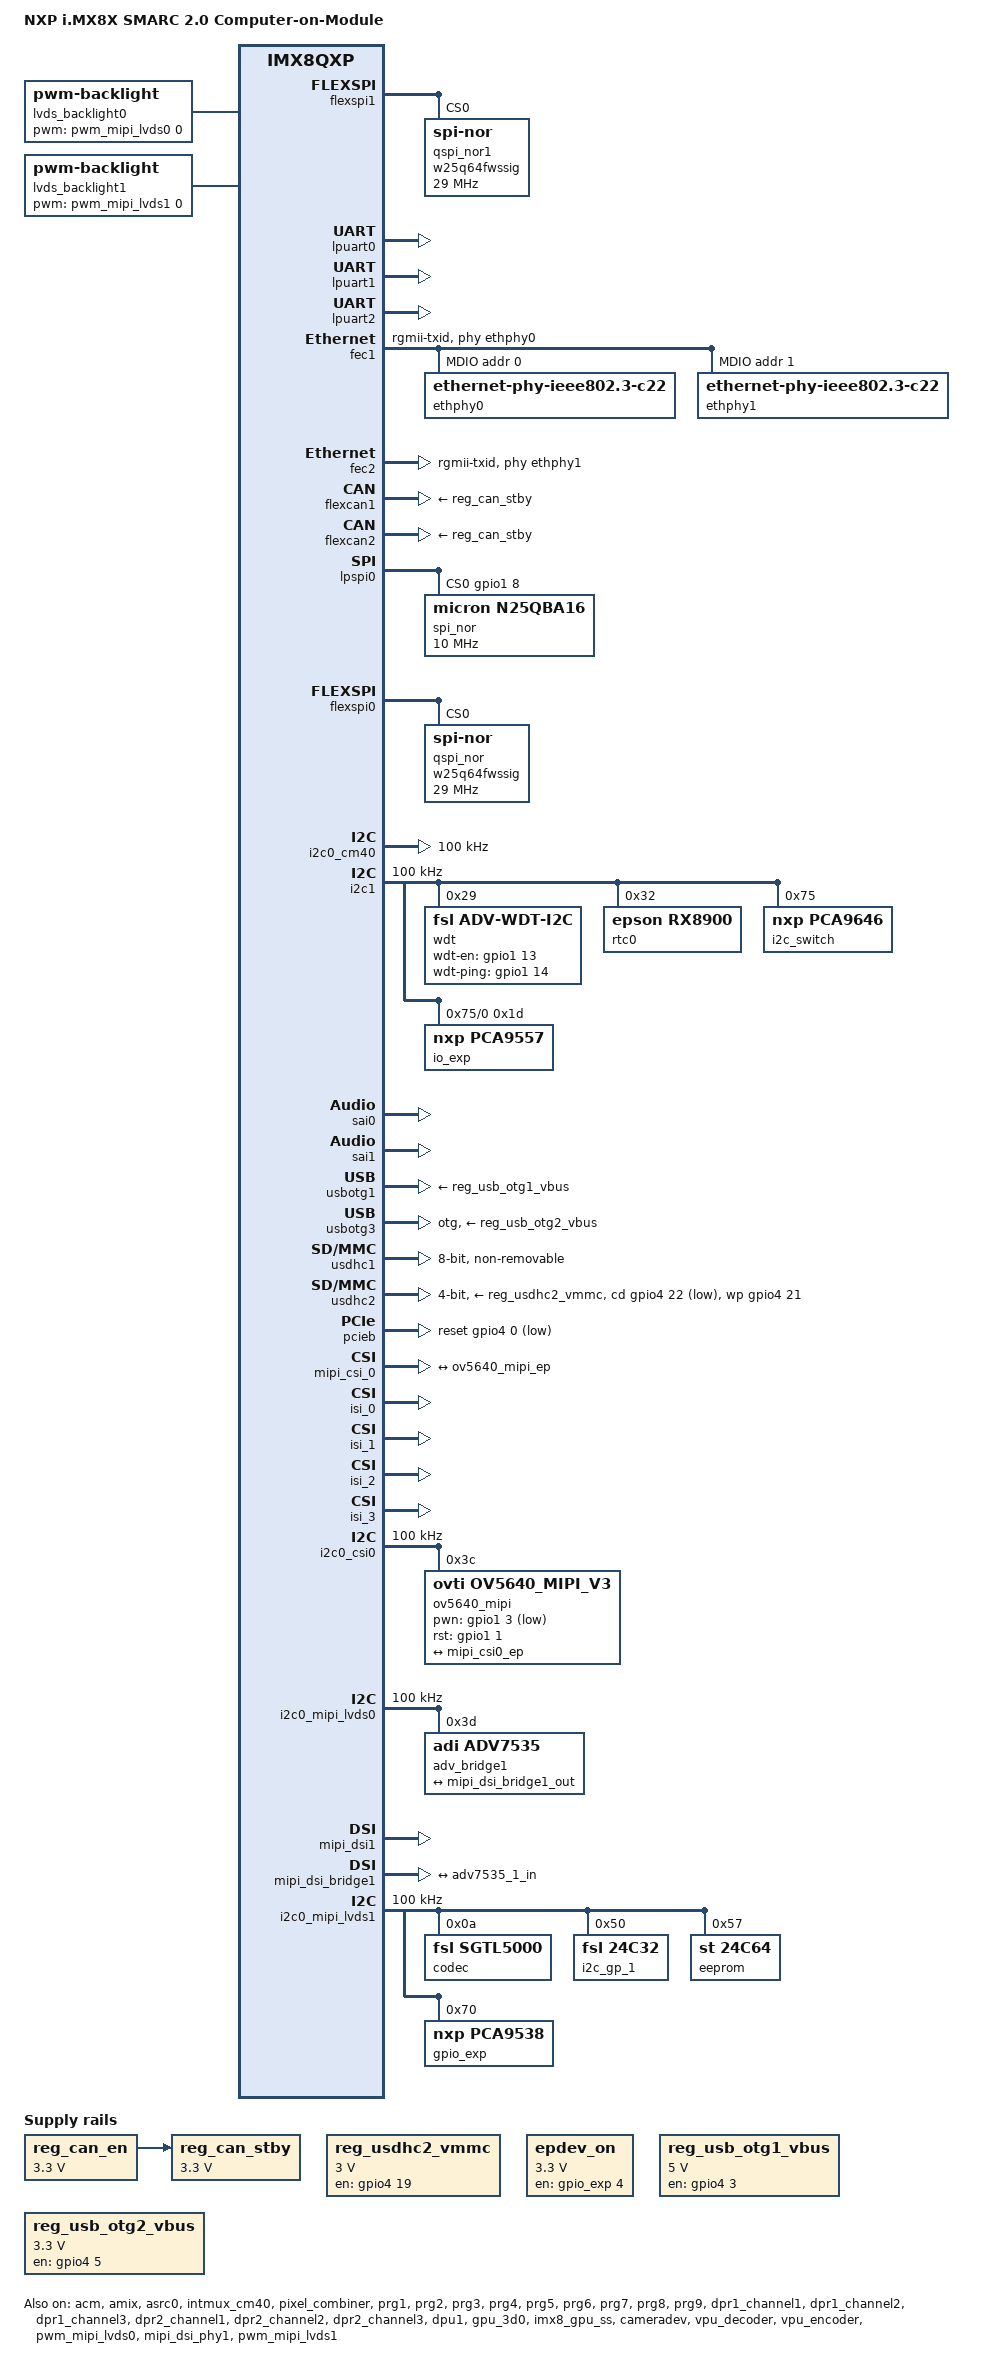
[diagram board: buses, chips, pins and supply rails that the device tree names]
/*
 * Copyright 2017-2019 Advantech
 *
 * This program is free software; you can redistribute it and/or
 * modify it under the terms of the GNU General Public License
 * as published by the Free Software Foundation; either version 2
 * of the License, or (at your option) any later version.
 *
 * This program is distributed in the hope that it will be useful,
 * but WITHOUT ANY WARRANTY; without even the implied warranty of
 * MERCHANTABILITY or FITNESS FOR A PARTICULAR PURPOSE.  See the
 * GNU General Public License for more details.
 */
/dts-v1/;

#include "fsl-imx8qxp.dtsi"

/* Definitions */
#define ROM_DB5901

/*************************** based on fsl-imx8qxp-mek.dtsi *****************************/

/ {
	model = "NXP i.MX8X SMARC 2.0 Computer-on-Module";
	compatible = "fsl,imx8qxp-mek", "fsl,imx8qxp";

	aliases {
		i2c0 = &i2c0_csi0;
		i2c1 = &i2c0_cm40;
		i2c2 = &i2c0_mipi_lvds0;
		i2c3 = &i2c0_mipi_lvds1;
		i2c4 = &i2c1;
		i2c5 = &i2c_sw1;
	};

	chosen {
		bootargs = "console=ttyLP0,115200 earlycon=lpuart32,0x5a060000,115200";
		stdout-path = &lpuart0;
	};

	regulators {
		compatible = "simple-bus";
		#address-cells = <1>;
		#size-cells = <0>;

		reg_can_en: regulator-can-gen {
			compatible = "regulator-fixed";
			regulator-name = "can-en";
			regulator-min-microvolt = <3300000>;
			regulator-max-microvolt = <3300000>;
			enable-active-high;
		};

		reg_can_stby: regulator-can-stby {
			compatible = "regulator-fixed";
			regulator-name = "can-stby";
			regulator-min-microvolt = <3300000>;
			regulator-max-microvolt = <3300000>;
			enable-active-high;
			vin-supply = <&reg_can_en>;
		};

		/* SDIO_PWR_EN */
		reg_usdhc2_vmmc: usdhc2_vmmc {
			compatible = "regulator-fixed";
			regulator-name = "SD1_SPWR";
			regulator-min-microvolt = <3000000>;
			regulator-max-microvolt = <3000000>;
			gpio = <&gpio4 19 GPIO_ACTIVE_HIGH>;
			off-on-delay = <3480>;
			enable-active-high;
		};
		/* M2_SDIO_RST# */
		epdev_on: fixedregulator@100 {
			compatible = "regulator-fixed";
			regulator-min-microvolt = <3300000>;
			regulator-max-microvolt = <3300000>;
			regulator-name = "epdev_on";
			gpio = <&gpio_exp 4 GPIO_ACTIVE_HIGH>;
			enable-active-high;
		};
		/* USB0_OTG_EN_OC# */
		reg_usb_otg1_vbus: regulator@0 {
			compatible = "regulator-fixed";
			reg = <0>;
			regulator-name = "usb_otg1_vbus";
			regulator-min-microvolt = <5000000>;
			regulator-max-microvolt = <5000000>;
			gpio = <&gpio4 3 GPIO_ACTIVE_LOW>;
			enable-active-high;
		};
		/* USB1_EN_OC# */
		reg_usb_otg2_vbus: regulator-otg2 {
			compatible = "regulator-fixed";
			regulator-name = "usb_otg2_vbus";
			regulator-min-microvolt = <3300000>;
			regulator-max-microvolt = <3300000>;
			gpio = <&gpio4 5 GPIO_ACTIVE_LOW>;
			enable-active-high;
		};
	};

#ifdef ROM_DB5901
	sound: sound {
		compatible = "fsl,imx-audio-sgtl5000";
		model = "sgtl50000";
		ssi-controller = <&sai1>;
		audio-codec = <&codec>;
		codec-master;
		audio-routing =
			"MIC_IN", "Mic Jack",
			"Mic Jack", "Mic Bias",
			"Headphone Jack", "HP_OUT";
	};
#endif

	/* SAI0: M.2, SAI1: SGTL5000 */
	sound-amix-sai {
		compatible = "fsl,imx-audio-amix";
		model = "amix-audio-sai";
		dais = <&sai0>, <&sai1>;
		amix-controller = <&amix>;
	};

	lvds_backlight0: lvds_backlight@0 {
		compatible = "pwm-backlight";
		pwms = <&pwm_mipi_lvds0 0 100000 0>;

		brightness-levels = < 0  1  2  3  4  5  6  7  8  9
				     10 11 12 13 14 15 16 17 18 19
				     20 21 22 23 24 25 26 27 28 29
				     30 31 32 33 34 35 36 37 38 39
				     40 41 42 43 44 45 46 47 48 49
				     50 51 52 53 54 55 56 57 58 59
				     60 61 62 63 64 65 66 67 68 69
				     70 71 72 73 74 75 76 77 78 79
				     80 81 82 83 84 85 86 87 88 89
				     90 91 92 93 94 95 96 97 98 99
				    100>;
		default-brightness-level = <80>;
	};

	lvds_backlight1: lvds_backlight@1 {
		compatible = "pwm-backlight";
		pwms = <&pwm_mipi_lvds1 0 100000 0>;

		brightness-levels = < 0  1  2  3  4  5  6  7  8  9
				     10 11 12 13 14 15 16 17 18 19
				     20 21 22 23 24 25 26 27 28 29
				     30 31 32 33 34 35 36 37 38 39
				     40 41 42 43 44 45 46 47 48 49
				     50 51 52 53 54 55 56 57 58 59
				     60 61 62 63 64 65 66 67 68 69
				     70 71 72 73 74 75 76 77 78 79
				     80 81 82 83 84 85 86 87 88 89
				     90 91 92 93 94 95 96 97 98 99
				    100>;
		default-brightness-level = <80>;
	};

	flexspi1: flexspi@05d130000 {
		#address-cells = <1>;
		#size-cells = <0>;
		compatible = "fsl,imx8qxp-flexspi";
		reg = <0x0 0x5d130000 0x0 0x10000>, <0x0 0x18000000 0x0 0x2000000>; /* 32MB */
		reg-names = "FlexSPI", "FlexSPI-memory";
		interrupts = <GIC_SPI 93 IRQ_TYPE_LEVEL_HIGH>;
		clocks = <&clk IMX8QXP_LSIO_FSPI1_CLK>;
		assigned-clock-rates = <29000000>;
		clock-names = "fspi";
		power-domains = <&pd_lsio_flexspi1>;
	};
};

&acm {
	status = "okay";
};

&amix {
	status = "okay";
};

&asrc0 {
	fsl,asrc-rate  = <48000>;
	status = "okay";
};

&iomuxc {
	pinctrl-names = "default";
	pinctrl-0 = <&pinctrl_hog>;

	imx8qxp-mek {
		pinctrl_hog: hoggrp {
			fsl,pins = <
				SC_P_ADC_IN2_M40_UART0_RX	0x06000020	/* M40_UART_RX */
				SC_P_ADC_IN3_M40_UART0_TX	0x06000020	/* M40_UART_TX */
				SC_P_SPI2_CS0_LSIO_GPIO1_IO00	0x06000021	/* GPIO0 */
				SC_P_SPI2_SCK_LSIO_GPIO1_IO03	0x06000021	/* GPIO1 */
				SC_P_SPI2_SDI_LSIO_GPIO1_IO02	0x06000021	/* GPIO2 */
				SC_P_SPI2_SDO_LSIO_GPIO1_IO01	0x06000021	/* GPIO3 */
				SC_P_SPI3_CS0_LSIO_GPIO0_IO16	0x06000021	/* GPIO4 */
				SC_P_SPI3_SCK_LSIO_GPIO0_IO13	0x06000021	/* GPIO5 */
				SC_P_SPI3_SDI_LSIO_GPIO0_IO15	0x06000021	/* GPIO6 */
				SC_P_MCLK_IN0_LSIO_GPIO0_IO19	0x06000021	/* GPIO7 */
				SC_P_MCLK_OUT0_LSIO_GPIO0_IO20	0x06000021	/* GPIO8 */
				SC_P_CSI_PCLK_LSIO_GPIO3_IO00	0x06000021	/* GPIO9 */
				SC_P_CSI_MCLK_LSIO_GPIO3_IO01	0x06000021	/* GPIO10 */
				SC_P_CSI_EN_LSIO_GPIO3_IO02	0x06000021	/* GPIO11 */
				SC_P_SPI3_SDO_LSIO_GPIO0_IO14	0x06000021	/* CHARGER# */
				SC_P_CSI_RESET_LSIO_GPIO3_IO03	0x06000021	/* SMB_ALERT_1V8# */
			>;
		};

		pinctrl_csi0_lpi2c0: csi0lpi2c0grp {
			fsl,pins = <
				SC_P_MIPI_CSI0_I2C0_SCL_MIPI_CSI0_I2C0_SCL	0xc2000020
				SC_P_MIPI_CSI0_I2C0_SDA_MIPI_CSI0_I2C0_SDA	0xc2000020
			>;
		};

		pinctrl_lpuart0: lpuart0grp {
			fsl,pins = <
				SC_P_UART0_RX_ADMA_UART0_RX	0x06000020
				SC_P_UART0_TX_ADMA_UART0_TX	0x06000020
			>;
		};

		pinctrl_lpuart1: lpuart1grp {
			fsl,pins = <
				SC_P_UART1_TX_ADMA_UART1_TX		0x06000020
				SC_P_UART1_RX_ADMA_UART1_RX		0x06000020
				SC_P_UART1_RTS_B_ADMA_UART1_RTS_B	0x06000020
				SC_P_UART1_CTS_B_ADMA_UART1_CTS_B	0x06000020
			>;
		};

		pinctrl_lpuart2: lpuart2grp {
			fsl,pins = <
				SC_P_UART2_TX_ADMA_UART2_TX	0x06000020
				SC_P_UART2_RX_ADMA_UART2_RX	0x06000020
			>;
		};

		pinctrl_fec1: fec1grp {
			fsl,pins = <
				SC_P_ENET0_MDC_CONN_ENET0_MDC			0x06000020
				SC_P_ENET0_MDIO_CONN_ENET0_MDIO			0x06000020
				SC_P_ENET0_RGMII_TX_CTL_CONN_ENET0_RGMII_TX_CTL	0x00000061
				SC_P_ENET0_RGMII_TXC_CONN_ENET0_RGMII_TXC	0x00000061
				SC_P_ENET0_RGMII_TXD0_CONN_ENET0_RGMII_TXD0	0x00000061
				SC_P_ENET0_RGMII_TXD1_CONN_ENET0_RGMII_TXD1	0x00000061
				SC_P_ENET0_RGMII_TXD2_CONN_ENET0_RGMII_TXD2	0x00000061
				SC_P_ENET0_RGMII_TXD3_CONN_ENET0_RGMII_TXD3	0x00000061
				SC_P_ENET0_RGMII_RXC_CONN_ENET0_RGMII_RXC	0x00000061
				SC_P_ENET0_RGMII_RX_CTL_CONN_ENET0_RGMII_RX_CTL	0x00000061
				SC_P_ENET0_RGMII_RXD0_CONN_ENET0_RGMII_RXD0	0x00000061
				SC_P_ENET0_RGMII_RXD1_CONN_ENET0_RGMII_RXD1	0x00000061
				SC_P_ENET0_RGMII_RXD2_CONN_ENET0_RGMII_RXD2	0x00000061
				SC_P_ENET0_RGMII_RXD3_CONN_ENET0_RGMII_RXD3	0x00000061
			>;
		};

		pinctrl_fec2: fec2grp {
			fsl,pins = <
				SC_P_ESAI0_SCKR_CONN_ENET1_RGMII_TX_CTL		0x00000060
				SC_P_ESAI0_FSR_CONN_ENET1_RGMII_TXC		0x00000060
				SC_P_ESAI0_TX4_RX1_CONN_ENET1_RGMII_TXD0	0x00000060
				SC_P_ESAI0_TX5_RX0_CONN_ENET1_RGMII_TXD1	0x00000060
				SC_P_ESAI0_FST_CONN_ENET1_RGMII_TXD2		0x00000060
				SC_P_ESAI0_SCKT_CONN_ENET1_RGMII_TXD3		0x00000060
				SC_P_ESAI0_TX0_CONN_ENET1_RGMII_RXC		0x00000060
				SC_P_SPDIF0_TX_CONN_ENET1_RGMII_RX_CTL		0x00000060
				SC_P_SPDIF0_RX_CONN_ENET1_RGMII_RXD0		0x00000060
				SC_P_ESAI0_TX3_RX2_CONN_ENET1_RGMII_RXD1	0x00000060
				SC_P_ESAI0_TX2_RX3_CONN_ENET1_RGMII_RXD2	0x00000060
				SC_P_ESAI0_TX1_CONN_ENET1_RGMII_RXD3		0x00000060
			>;
		};

		pinctrl_flexcan1: flexcan0grp {
			fsl,pins = <
				SC_P_FLEXCAN0_TX_ADMA_FLEXCAN0_TX		0x21
				SC_P_FLEXCAN0_RX_ADMA_FLEXCAN0_RX		0x21
			>;
		};

		pinctrl_flexcan2: flexcan1grp {
			fsl,pins = <
				SC_P_FLEXCAN1_TX_ADMA_FLEXCAN1_TX		0x21
				SC_P_FLEXCAN1_RX_ADMA_FLEXCAN1_RX		0x21
			>;
		};

		pinctrl_lpspi0: lpspi0grp {
			fsl,pins = <
				SC_P_SPI0_CS0_LSIO_GPIO1_IO08		0x00000040
				SC_P_SPI0_SCK_ADMA_SPI0_SCK		0x00000040
				SC_P_SPI0_SDI_ADMA_SPI0_SDI		0x00000040
				SC_P_SPI0_SDO_ADMA_SPI0_SDO		0x00000040
			>;
		};

		pinctrl_flexspi0: flexspi0grp {
			fsl,pins = <
				SC_P_QSPI0A_DATA0_LSIO_QSPI0A_DATA0	0x06000021
				SC_P_QSPI0A_DATA1_LSIO_QSPI0A_DATA1	0x06000021
				SC_P_QSPI0A_DATA2_LSIO_QSPI0A_DATA2	0x06000021
				SC_P_QSPI0A_DATA3_LSIO_QSPI0A_DATA3	0x06000021
				SC_P_QSPI0A_DQS_LSIO_QSPI0A_DQS		0x06000021
				SC_P_QSPI0A_SS0_B_LSIO_QSPI0A_SS0_B	0x06000021
				SC_P_QSPI0A_SS1_B_LSIO_QSPI0A_SS1_B	0x06000021
				SC_P_QSPI0A_SCLK_LSIO_QSPI0A_SCLK	0x06000021
			>;
		};

		pinctrl_flexspi1: flexspi1grp {
			fsl,pins = <
				SC_P_QSPI0B_SCLK_LSIO_QSPI1A_SCLK	0x06000021
				SC_P_QSPI0B_DATA0_LSIO_QSPI1A_DATA0	0x06000021
				SC_P_QSPI0B_DATA1_LSIO_QSPI1A_DATA1	0x06000021
				SC_P_QSPI0B_DATA2_LSIO_QSPI1A_DATA2	0x06000021
				SC_P_QSPI0B_DATA3_LSIO_QSPI1A_DATA3	0x06000021
				SC_P_QSPI0B_DQS_LSIO_QSPI1A_DQS		0x06000021
				SC_P_QSPI0B_SS0_B_LSIO_QSPI1A_SS0_B	0x06000021
				SC_P_QSPI0B_SS1_B_LSIO_QSPI1A_SS1_B	0x06000021
			>;
		};

		pinctrl_cm40_i2c: cm40i2cgrp {
			fsl,pins = <
				SC_P_ADC_IN1_M40_I2C0_SDA	0x0600004c
				SC_P_ADC_IN0_M40_I2C0_SCL	0x0600004c
			>;
		};

		pinctrl_pwm_mipi_lvds0: mipi_lvds0_pwm_grp {
			fsl,pins = <
				SC_P_MIPI_DSI0_GPIO0_00_MIPI_DSI0_PWM0_OUT	0x00000020
			>;
		};

		pinctrl_i2c0_mipi_lvds0: mipi_lvds0_i2c0_grp {
			fsl,pins = <
				SC_P_MIPI_DSI0_I2C0_SCL_MIPI_DSI0_I2C0_SCL	0xc6000020
				SC_P_MIPI_DSI0_I2C0_SDA_MIPI_DSI0_I2C0_SDA	0xc6000020
			>;
		};

		pinctrl_pwm_mipi_lvds1: mipi_lvds1_pwm_grp {
			fsl,pins = <
				SC_P_MIPI_DSI1_GPIO0_00_MIPI_DSI1_PWM0_OUT	0x00000020
			>;
		};

		pinctrl_i2c0_mipi_lvds1: mipi_lvds1_i2c0_grp {
			fsl,pins = <
				SC_P_MIPI_DSI1_I2C0_SCL_MIPI_DSI1_I2C0_SCL	0xc6000020
				SC_P_MIPI_DSI1_I2C0_SDA_MIPI_DSI1_I2C0_SDA	0xc6000020
			>;
		};

		pinctrl_lpi2c1: lpi1cgrp {
			fsl,pins = <
				SC_P_USB_SS3_TC1_ADMA_I2C1_SCL	0x06000021
				SC_P_USB_SS3_TC3_ADMA_I2C1_SDA	0x06000021
			>;
		};

		pinctrl_sai0: sai0grp {
			fsl,pins = <
				SC_P_SAI0_RXD_ADMA_SAI0_RXD	0x06000040
				SC_P_SAI0_TXC_ADMA_SAI0_TXC	0x06000040
				SC_P_SAI0_TXFS_ADMA_SAI0_TXFS	0x06000040
				SC_P_SAI0_TXD_ADMA_SAI0_TXD	0x06000040
				SC_P_MCLK_IN1_ADMA_ACM_MCLK_IN1	0xc6000040
			>;
		};

		pinctrl_sai1: sai1grp {
			fsl,pins = <
				SC_P_SAI1_RXD_ADMA_SAI1_RXD	0x06000040
				SC_P_SAI1_RXC_ADMA_SAI1_TXC	0x06000040
				SC_P_SAI1_RXFS_ADMA_SAI1_TXFS	0x06000040
				SC_P_SPI0_CS1_ADMA_SAI1_TXD	0x06000060
			>;
		};

		pinctrl_usdhc1: usdhc1grp {
			fsl,pins = <
				SC_P_EMMC0_CLK_CONN_EMMC0_CLK		0x06000041
				SC_P_EMMC0_CMD_CONN_EMMC0_CMD		0x00000021
				SC_P_EMMC0_DATA0_CONN_EMMC0_DATA0	0x00000021
				SC_P_EMMC0_DATA1_CONN_EMMC0_DATA1	0x00000021
				SC_P_EMMC0_DATA2_CONN_EMMC0_DATA2	0x00000021
				SC_P_EMMC0_DATA3_CONN_EMMC0_DATA3	0x00000021
				SC_P_EMMC0_DATA4_CONN_EMMC0_DATA4	0x00000021
				SC_P_EMMC0_DATA5_CONN_EMMC0_DATA5	0x00000021
				SC_P_EMMC0_DATA6_CONN_EMMC0_DATA6	0x00000021
				SC_P_EMMC0_DATA7_CONN_EMMC0_DATA7	0x00000021
				SC_P_EMMC0_STROBE_CONN_EMMC0_STROBE	0x00000041
			>;
		};

		pinctrl_usdhc1_100mhz: usdhc1grp100mhz {
			fsl,pins = <
				SC_P_EMMC0_CLK_CONN_EMMC0_CLK		0x06000041
				SC_P_EMMC0_CMD_CONN_EMMC0_CMD		0x00000021
				SC_P_EMMC0_DATA0_CONN_EMMC0_DATA0	0x00000021
				SC_P_EMMC0_DATA1_CONN_EMMC0_DATA1	0x00000021
				SC_P_EMMC0_DATA2_CONN_EMMC0_DATA2	0x00000021
				SC_P_EMMC0_DATA3_CONN_EMMC0_DATA3	0x00000021
				SC_P_EMMC0_DATA4_CONN_EMMC0_DATA4	0x00000021
				SC_P_EMMC0_DATA5_CONN_EMMC0_DATA5	0x00000021
				SC_P_EMMC0_DATA6_CONN_EMMC0_DATA6	0x00000021
				SC_P_EMMC0_DATA7_CONN_EMMC0_DATA7	0x00000021
				SC_P_EMMC0_STROBE_CONN_EMMC0_STROBE	0x00000041
			>;
		};

		pinctrl_usdhc1_200mhz: usdhc1grp200mhz {
			fsl,pins = <
				SC_P_EMMC0_CLK_CONN_EMMC0_CLK		0x06000041
				SC_P_EMMC0_CMD_CONN_EMMC0_CMD		0x00000021
				SC_P_EMMC0_DATA0_CONN_EMMC0_DATA0	0x00000021
				SC_P_EMMC0_DATA1_CONN_EMMC0_DATA1	0x00000021
				SC_P_EMMC0_DATA2_CONN_EMMC0_DATA2	0x00000021
				SC_P_EMMC0_DATA3_CONN_EMMC0_DATA3	0x00000021
				SC_P_EMMC0_DATA4_CONN_EMMC0_DATA4	0x00000021
				SC_P_EMMC0_DATA5_CONN_EMMC0_DATA5	0x00000021
				SC_P_EMMC0_DATA6_CONN_EMMC0_DATA6	0x00000021
				SC_P_EMMC0_DATA7_CONN_EMMC0_DATA7	0x00000021
				SC_P_EMMC0_STROBE_CONN_EMMC0_STROBE	0x00000041
			>;
		};

		pinctrl_usdhc2_gpio: usdhc2gpiogrp {
			fsl,pins = <
				SC_P_USDHC1_RESET_B_LSIO_GPIO4_IO19	0x00000021
				SC_P_USDHC1_WP_LSIO_GPIO4_IO21		0x00000021
				SC_P_USDHC1_CD_B_LSIO_GPIO4_IO22	0x00000021
			>;
		};

		pinctrl_usdhc2: usdhc2grp {
			fsl,pins = <
				SC_P_USDHC1_CLK_CONN_USDHC1_CLK		0x06000041
				SC_P_USDHC1_CMD_CONN_USDHC1_CMD		0x00000021
				SC_P_USDHC1_DATA0_CONN_USDHC1_DATA0	0x00000021
				SC_P_USDHC1_DATA1_CONN_USDHC1_DATA1	0x00000021
				SC_P_USDHC1_DATA2_CONN_USDHC1_DATA2	0x00000021
				SC_P_USDHC1_DATA3_CONN_USDHC1_DATA3	0x00000021
			>;
		};

		pinctrl_usdhc2_100mhz: usdhc2grp100mhz {
			fsl,pins = <
				SC_P_USDHC1_CLK_CONN_USDHC1_CLK		0x06000041
				SC_P_USDHC1_CMD_CONN_USDHC1_CMD		0x00000021
				SC_P_USDHC1_DATA0_CONN_USDHC1_DATA0	0x00000021
				SC_P_USDHC1_DATA1_CONN_USDHC1_DATA1	0x00000021
				SC_P_USDHC1_DATA2_CONN_USDHC1_DATA2	0x00000021
				SC_P_USDHC1_DATA3_CONN_USDHC1_DATA3	0x00000021
			>;
		};

		pinctrl_usdhc2_200mhz: usdhc2grp200mhz {
			fsl,pins = <
				SC_P_USDHC1_CLK_CONN_USDHC1_CLK		0x06000041
				SC_P_USDHC1_CMD_CONN_USDHC1_CMD		0x00000021
				SC_P_USDHC1_DATA0_CONN_USDHC1_DATA0	0x00000021
				SC_P_USDHC1_DATA1_CONN_USDHC1_DATA1	0x00000021
				SC_P_USDHC1_DATA2_CONN_USDHC1_DATA2	0x00000021
				SC_P_USDHC1_DATA3_CONN_USDHC1_DATA3	0x00000021
			>;
		};

		pinctrl_pcieb: pcieagrp{
			fsl,pins = <
				SC_P_PCIE_CTRL0_PERST_B_LSIO_GPIO4_IO00		0x06000021
				SC_P_PCIE_CTRL0_CLKREQ_B_LSIO_GPIO4_IO01	0x06000021
				SC_P_PCIE_CTRL0_WAKE_B_LSIO_GPIO4_IO02		0x04000021
			>;
		};

		pinctrl_wdt_en_1: wdt_engrp-1 {
			fsl,pins = <
				SC_P_ADC_IN5_LSIO_GPIO1_IO13	0x06000021	/* WDT_EN */
			>;
		};

		pinctrl_wdt_ping_1: wdt_pinggrp-1 {
			fsl,pins = <
				SC_P_ADC_IN4_LSIO_GPIO1_IO14	0x06000021	/* WDOG_TRIG */
			>;
		};

		pinctrl_mipi_csi0: mipi_csi0grp {
			fsl,pins = <
				SC_P_SPI2_SCK_LSIO_GPIO1_IO03	0x06000021	/* CAM1_PWR# */
				SC_P_SPI2_SDO_LSIO_GPIO1_IO01	0x06000021	/* CAM1_RST# */
			>;
		};

		pinctrl_tpm: tpm_grp {
			fsl,pins = <
				SC_P_FLEXCAN2_TX_LSIO_GPIO1_IO20	0x06000021	/* TPM_RESET */
				SC_P_QSPI0A_SS1_B_LSIO_GPIO3_IO15	0x06000021	/* TPM_IRQ */
			>;
		};
	};
};

&pd_dma_lpuart0 {
	debug_console;
};

&lpuart0 {
	pinctrl-names = "default";
	pinctrl-0 = <&pinctrl_lpuart0>;
	status = "okay";
};

&lpuart1 {
	pinctrl-names = "default";
	pinctrl-0 = <&pinctrl_lpuart1>;
	status = "okay";
};

&lpuart2 {
	pinctrl-names = "default";
	pinctrl-0 = <&pinctrl_lpuart2>;
	status = "okay";
};

&fec1 {
	pinctrl-names = "default";
	pinctrl-0 = <&pinctrl_fec1>;
	phy-mode = "rgmii-txid";
	phy-handle = <&ethphy0>;
	fsl,magic-packet;
	fsl,rgmii_rxc_dly;
	status = "okay";

	mdio {
		#address-cells = <1>;
		#size-cells = <0>;

		ethphy0: ethernet-phy@0 {
			compatible = "ethernet-phy-ieee802.3-c22";
			reg = <0>;
			at803x,eee-disabled;
			at803x,vddio-1p8v;
		};

		ethphy1: ethernet-phy@1 {
			compatible = "ethernet-phy-ieee802.3-c22";
			reg = <1>;
			at803x,eee-disabled;
			at803x,vddio-1p8v;
		};
	};
};

&fec2 {
	pinctrl-names = "default";
	pinctrl-0 = <&pinctrl_fec2>;
	phy-mode = "rgmii-txid";
	phy-handle = <&ethphy1>;
	fsl,magic-packet;
	fsl,rgmii_rxc_dly;
	status = "okay";
};

&flexcan1 {
	pinctrl-names = "default";
	pinctrl-0 = <&pinctrl_flexcan1>;
	xceiver-supply = <&reg_can_stby>;
	status = "okay";
};

&flexcan2 {
	pinctrl-names = "default";
	pinctrl-0 = <&pinctrl_flexcan2>;
	xceiver-supply = <&reg_can_stby>;
	status = "okay";
};

&lpspi0 {
	#address-cells = <1>;
	#size-cells = <0>;
	fsl,spi-num-chipselects = <1>;
	pinctrl-names = "default";
	pinctrl-0 = <&pinctrl_lpspi0>;
	cs-gpios = <&gpio1 8 GPIO_ACTIVE_HIGH>;
	status = "okay";

#ifdef ROM_DB5901
	spi_nor: m25p80@0 {
		compatible = "micron,n25qba16";
		spi-max-frequency = <10000000>;
		reg = <0>;
	};
#endif
};

&flexspi0 {
	pinctrl-names = "default";
	pinctrl-0 = <&pinctrl_flexspi0>;
	status = "okay";

	qspi_nor: w25q64fwssig@0 {
		reg = <0>;
		#address-cells = <1>;
		#size-cells = <1>;
		compatible = "jedec,spi-nor", "winbond,w25q64";
		spi-max-frequency = <29000000>;
		spi-nor,quad-read = <4>;
	};
};

&flexspi1 {
	pinctrl-names = "default";
	pinctrl-0 = <&pinctrl_flexspi1>;
	status = "okay";

#ifdef ROM_DB5901
	qspi_nor1: w25q64fwssig@0 {
		reg = <0>;
		#address-cells = <1>;
		#size-cells = <1>;
		compatible = "jedec,spi-nor", "winbond,w25q64";
		spi-max-frequency = <29000000>;
		spi-nor,quad-read = <4>;
	};
#endif
};

&pd_cm40_intmux {
	early_power_on;
};

&intmux_cm40 {
	status = "okay";
};

&i2c0_cm40 {
	#address-cells = <1>;
	#size-cells = <0>;
	clock-frequency = <100000>;
	pinctrl-names = "default";
	pinctrl-0 = <&pinctrl_cm40_i2c>;
	status = "okay";

#ifdef ROM_DB5901
	/* Battery */
	/* CYPRESS_CYPD5126-40LQXIT */
#endif
};

&i2c1 {
	#address-cells = <1>;
	#size-cells = <0>;
	clock-frequency = <100000>;
	pinctrl-names = "default";
	pinctrl-0 = <&pinctrl_lpi2c1>;
	status = "okay";

	wdt: msp430g2202@29 {
		compatible = "fsl,adv-wdt-i2c";
		reg = <0x29>;
		pinctrl-names = "default";
		pinctrl-0 = <&pinctrl_wdt_en_1 &pinctrl_wdt_ping_1>;
		wdt-en = <&gpio1 13 0>;
		wdt-ping = <&gpio1 14 0>;
		status = "okay";
	};

	tpm: st33htph@2e {
		compatible = "st,st33htpm-i2c";
		reg= <0x2e>;
		pinctrl-names = "default";
		pinctrl-0 = <&pinctrl_tpm>;
		interrupt-parent = <&gpio3>;
		interrupts = <15 IRQ_TYPE_LEVEL_HIGH>;
		status = "disabled";
	};

	rtc0: rx8900@32 {
		compatible = "epson,rx8900";
		reg = <0x32>;
		epson,vdet-disable;
		trickle-diode-disable;
		status = "okay";
	};

	i2c_switch: pca9646pw@75 {
		#address-cells = <1>;
		#size-cells = <0>;
		compatible = "nxp,pca9646";
		reg = <0x75>;

		i2c_sw1: i2c0@0 {
			#address-cells = <1>;
			#size-cells = <0>;
			reg = <0>;

			io_exp: pca9557pw@1d {
				compatible = "nxp,pca9557";
				reg = <0x1d>;
				gpio-controller;
				#gpio-cells = <2>;
			};
		};
	};
};

&sai0 {
	assigned-clocks = <&clk IMX8QXP_AUD_PLL0_DIV>,
			<&clk IMX8QXP_AUD_ACM_AUD_PLL_CLK0_DIV>,
			<&clk IMX8QXP_AUD_ACM_AUD_REC_CLK0_DIV>,
			<&clk IMX8QXP_AUD_SAI_0_MCLK>;
	assigned-clock-rates = <786432000>, <49152000>, <12288000>, <49152000>;
	pinctrl-names = "default";
	pinctrl-0 = <&pinctrl_sai0>;
	status = "okay";
};

&sai1 {
	assigned-clocks = <&clk IMX8QXP_AUD_PLL0_DIV>,
			<&clk IMX8QXP_AUD_ACM_AUD_PLL_CLK0_DIV>,
			<&clk IMX8QXP_AUD_ACM_AUD_REC_CLK0_DIV>,
			<&clk IMX8QXP_AUD_SAI_1_MCLK>;
	assigned-clock-rates = <786432000>, <49152000>, <12288000>, <49152000>;
	pinctrl-names = "default";
	pinctrl-0 = <&pinctrl_sai1>;
	status = "okay";
};

&usbotg1 {
	vbus-supply = <&reg_usb_otg1_vbus>;
	srp-disable;
	hnp-disable;
	adp-disable;
	power-polarity-active-high;
	disable-over-current;
	status = "okay";
};

&usbotg3 {
	vbus-supply = <&reg_usb_otg2_vbus>;
	dr_mode = "otg";
	//extcon = <&typec_ptn5110>;
	status = "okay";
};

&usbphy1 {
	fsl,tx-d-cal = <114>;
};

&usdhc1 {
	pinctrl-names = "default", "state_100mhz", "state_200mhz";
	pinctrl-0 = <&pinctrl_usdhc1>;
	pinctrl-1 = <&pinctrl_usdhc1_100mhz>;
	pinctrl-2 = <&pinctrl_usdhc1_200mhz>;
	bus-width = <8>;
	non-removable;
	status = "okay";
};

&usdhc2 {
	pinctrl-names = "default", "state_100mhz", "state_200mhz";
	pinctrl-0 = <&pinctrl_usdhc2>, <&pinctrl_usdhc2_gpio>;
	pinctrl-1 = <&pinctrl_usdhc2_100mhz>, <&pinctrl_usdhc2_gpio>;
	pinctrl-2 = <&pinctrl_usdhc2_200mhz>, <&pinctrl_usdhc2_gpio>;
	bus-width = <4>;
	cd-gpios = <&gpio4 22 GPIO_ACTIVE_LOW>;
	wp-gpios = <&gpio4 21 GPIO_ACTIVE_HIGH>;
	vmmc-supply = <&reg_usdhc2_vmmc>;
	status = "okay";
};

&pcieb{
	ext_osc = <1>;
	pinctrl-names = "default";
	pinctrl-0 = <&pinctrl_pcieb>;
	disable-gpio = <&gpio_exp 1 GPIO_ACTIVE_LOW>;
	reset-gpio = <&gpio4 0 GPIO_ACTIVE_LOW>;
	epdev_on-supply = <&epdev_on>;
	status = "okay";
};

&pixel_combiner {
	status = "okay";
};

&prg1 {
	status = "okay";
};

&prg2 {
	status = "okay";
};

&prg3 {
	status = "okay";
};

&prg4 {
	status = "okay";
};

&prg5 {
	status = "okay";
};

&prg6 {
	status = "okay";
};

&prg7 {
	status = "okay";
};

&prg8 {
	status = "okay";
};

&prg9 {
	status = "okay";
};

&dpr1_channel1 {
	status = "okay";
};

&dpr1_channel2 {
	status = "okay";
};

&dpr1_channel3 {
	status = "okay";
};

&dpr2_channel1 {
	status = "okay";
};

&dpr2_channel2 {
	status = "okay";
};

&dpr2_channel3 {
	status = "okay";
};

&dpu1 {
	status = "okay";
};

&gpu_3d0 {
	status = "okay";
};

&imx8_gpu_ss {
	status = "okay";
};

&mipi_csi_0 {
	#address-cells = <1>;
	#size-cells = <0>;
	status = "okay";

	/* Camera 0  MIPI CSI-2 (CSIS0) */
	port@0 {
		reg = <0>;
		mipi_csi0_ep: endpoint {
			remote-endpoint = <&ov5640_mipi_ep>;
			data-lanes = <1 2>;
		};
	};
};

&cameradev {
	status = "okay";
};

&isi_0 {
	status = "okay";
};

&isi_1 {
	status = "okay";
};

&isi_2 {
	status = "okay";
};

&isi_3 {
	status = "okay";
};

&i2c0_csi0 {
	#address-cells = <1>;
	#size-cells = <0>;
	pinctrl-names = "default";
	pinctrl-0 = <&pinctrl_csi0_lpi2c0>;
	clock-frequency = <100000>;
	status = "okay";

	ov5640_mipi: ov5640_mipi@3c {
		compatible = "ovti,ov5640_mipi_v3";
		reg = <0x3c>;
		pinctrl-names = "default";
		pinctrl-0 = <&pinctrl_mipi_csi0>;
		clocks = <&clk IMX8QXP_24MHZ>;
		clock-names = "csi_mclk";
		csi_id = <0>;
		pwn-gpios = <&gpio1 3 GPIO_ACTIVE_LOW>;
		rst-gpios = <&gpio1 1 GPIO_ACTIVE_HIGH>;
		mclk = <24000000>;
		mclk_source = <0>;
		mipi_csi;
		status = "okay";
		port {
			ov5640_mipi_ep: endpoint {
				remote-endpoint = <&mipi_csi0_ep>;
			};
		};
	};
};

&vpu {
	status = "disabled";
};

&vpu_decoder {
	core_type = <1>;
	status = "okay";
};

&vpu_encoder {
	status = "okay";
};

&pwm_mipi_lvds0 {
	pinctrl-names = "default";
	pinctrl-0 = <&pinctrl_pwm_mipi_lvds0>;
	status = "okay";
};

/* DSI/LVDS port 0 & 1 */
&i2c0_mipi_lvds0 {
	#address-cells = <1>;
	#size-cells = <0>;
	pinctrl-names = "default";
	pinctrl-0 = <&pinctrl_i2c0_mipi_lvds0>;
	clock-frequency = <100000>;
	status = "okay";

	adv_bridge1: adv7535@3d {
		compatible = "adi,adv7535", "adi,adv7533";
		reg = <0x3d>;
		adi,dsi-lanes = <4>;
		adi,dsi-channel = <1>;
		status = "okay";

		port {
			adv7535_1_in: endpoint {
				remote-endpoint = <&mipi_dsi_bridge1_out>;
			};
		};
	};
};

&mipi_dsi_phy1 {
	status = "okay";
};

&mipi_dsi1 {
	pwr-delay = <10>;
	status = "okay";
};

&mipi_dsi_bridge1 {
	status = "okay";

	port@1 {
		mipi_dsi_bridge1_out: endpoint {
			remote-endpoint = <&adv7535_1_in>;
		};
	};
};

&pwm_mipi_lvds1 {
	pinctrl-names = "default";
	pinctrl-0 = <&pinctrl_pwm_mipi_lvds1>;
	status = "okay";
};

/* General I2C Bus (not specific for DSI) */
&i2c0_mipi_lvds1 {
	#address-cells = <1>;
	#size-cells = <0>;
	pinctrl-names = "default";
	pinctrl-0 = <&pinctrl_i2c0_mipi_lvds1>;
	clock-frequency = <100000>;
	status = "okay";

#ifdef ROM_DB5901
	codec: sgtl5000@0a {
		compatible = "fsl,sgtl5000";
		reg = <0x0a>;
		clocks = <&clk IMX8QXP_AUD_MCLKOUT0>;
		clock-names = "mclk";
		power-domains = <&pd_mclk_out0>;
		assigned-clocks = <&clk IMX8QXP_AUD_PLL0_DIV>,
				<&clk IMX8QXP_AUD_ACM_AUD_PLL_CLK0_DIV>,
				<&clk IMX8QXP_AUD_ACM_AUD_REC_CLK0_DIV>,
				<&clk IMX8QXP_AUD_MCLKOUT0>;
		assigned-clock-rates = <786432000>, <49152000>, <12288000>, <12288000>;
	};

	i2c_gp_1: 24c32@50 {
		compatible = "fsl,24c32";
		reg = <0x50>;
	};

	eeprom: 24c64@57 {
		compatible = "st,24c64";
		reg = <0x57>;
	};

	gpio_exp: tca9538@70 {
		compatible = "nxp,pca9538";
		reg = <0x70>;
		gpio-controller;
		#gpio-cells = <2>;
	};
#endif
};

&tsens {
	tsens-num = <3>;
};

&thermal_zones {
	pmic-thermal0 {
		polling-delay-passive = <250>;
		polling-delay = <2000>;
		thermal-sensors = <&tsens 2>;
		trips {
			pmic_alert0: trip0 {
				temperature = <110000>;
				hysteresis = <2000>;
				type = "passive";
			};
			pmic_crit0: trip1 {
				temperature = <125000>;
				hysteresis = <2000>;
				type = "critical";
			};
		};
		cooling-maps {
			map0 {
				trip = <&pmic_alert0>;
				cooling-device =
				<&A35_0 THERMAL_NO_LIMIT THERMAL_NO_LIMIT>;
			};
		};
	};
};
